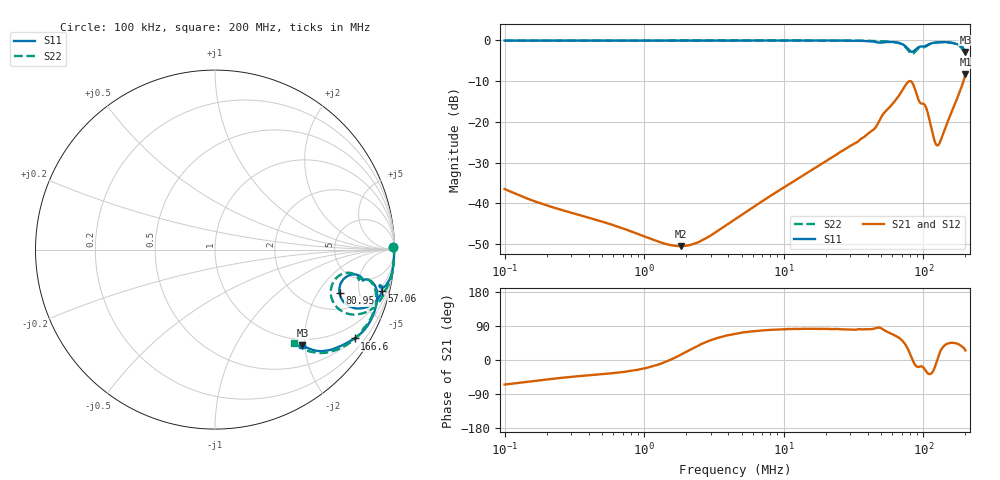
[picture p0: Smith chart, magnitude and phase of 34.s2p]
#  HZ  S  RI  R  50.00
! Rohde & Schwarz Vector Network Analyzer
! Rohde-Schwarz,ZNLE6-2Port,1323001256200024,1.71.1.10-23.02.1.238
! Created: UTC 4/7/2025, 4:52:10 AM
! freq[Hz]  re:S11  im:S11  re:S21  im:S21  re:S12  im:S12  re:S22  im:S22
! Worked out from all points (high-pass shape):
!   1001 points, 100 kHz to 200 MHz, reference 50 ohm
!   highest |S21| = -8.28 dB at 200 MHz (marker M1); lowest = -50.5 dB at 1.824 MHz (marker M2)
!   |S21| within 3 dB of the highest: 73.55 MHz to 85.67 MHz (12.12 MHz wide, 15.2 % of centre); 188.3 MHz to end of sweep
!   lowest |S11| = -2.8 dB at 200 MHz (marker M3), VSWR 6.19, Z = 43.8 - j97.4 ohm
!   |S11| at or under -10 dB: nowhere
!   |S22| runs from -3.3 to 0.0 dB; largest |S21 - S12| = 0.011
!   S11 on the Smith chart (normalised r, x): 100 kHz: open; 57.06 MHz: 1.40, -7.87; 80.95 MHz: 3.00, -3.18; 166.6 MHz: 0.51, -3.36; 200 MHz: 0.88, -1.95
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100000  0.9938 0.0134  0.00639 -0.0136  0.00641 -0.0136  0.9938 0.0133
355854.1  0.9948 0.0038  0.00527 -0.00474  0.00528 -0.00475  0.9948 0.00381
1266322  0.9966 -0.00254  0.00333 -0.000694  0.00334 -0.000698  0.9968 -0.00262
1823868  0.997 -0.00538  0.00291 0.000711  0.00292 0.000713  0.9971 -0.00548
2528935  0.9975 -0.00895  0.00261 0.00227  0.00265 0.00221  0.9975 -0.00868
4472136  0.9974 -0.018  0.00228 0.00597  0.00234 0.00593  0.998 -0.0176
1.591428e7  0.9952 -0.0666  0.00352 0.0256  0.00376 0.0255  0.9956 -0.0677
4.340332e7  0.9487 -0.2033  0.0112 0.0784  0.0139 0.0779  0.9655 -0.1984
5.663162e7  0.9297 -0.2295  0.0452 0.1416  0.0487 0.1397  0.9305 -0.2668
5.706372e7  0.9291 -0.2326  0.0472 0.1431  0.0507 0.1411  0.9288 -0.2697
6.543025e7  0.8915 -0.2913  0.0982 0.1742  0.0998 0.1729  0.8763 -0.3285
7.277681e7  0.8091 -0.3278  0.1859 0.1892  0.1907 0.184  0.7797 -0.3618
8.094824e7  0.6939 -0.2433  0.3082 0.0714  0.3104 0.0631  0.6461 -0.2545
8.800731e7  0.7618 -0.1391  0.2309 -0.0594  0.2301 -0.0658  0.7277 -0.1304
9.352484e7  0.8172 -0.157  0.1695 -0.0546  0.1687 -0.0593  0.7932 -0.1511
1.040259e8  0.8425 -0.1656  0.1344 -0.0738  0.1333 -0.0771  0.8255 -0.1587
1.192779e8  0.9033 -0.2467  0.0561 -0.0253  0.0556 -0.0263  0.8979 -0.25
1.248436e8  0.9032 -0.281  0.0517 -0.00277  0.0515 -0.00366  0.898 -0.288
1.326705e8  0.8938 -0.3257  0.0536 0.0241  0.0536 0.023  0.8878 -0.3361
1.6665e8  0.7773 -0.4947  0.1132 0.1126  0.1158 0.1076  0.7597 -0.5132
1.83958e8  0.6668 -0.5509  0.1929 0.1539  0.1977 0.1467  0.6074 -0.5754
2e8  0.4872 -0.5327  0.3484 0.1651  0.3541 0.1561  0.4389 -0.522
